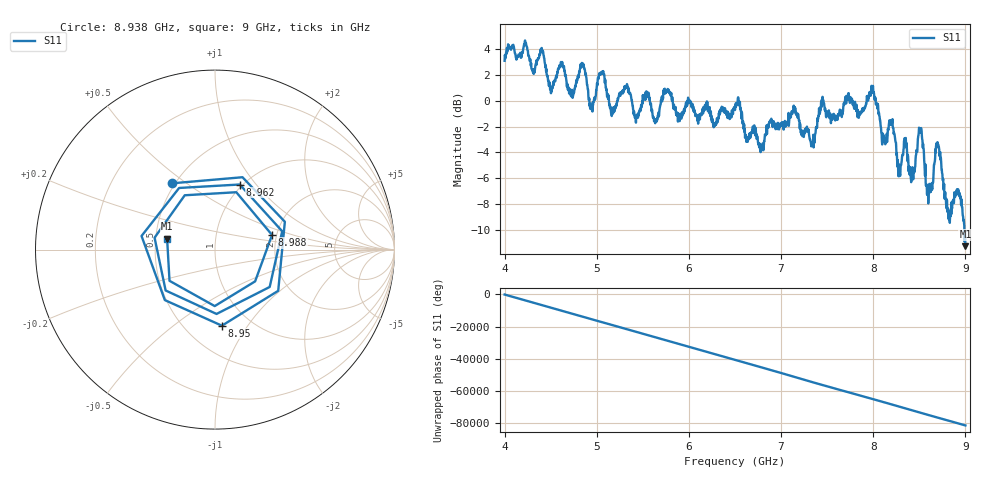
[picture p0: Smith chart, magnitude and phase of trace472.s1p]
! Created with skrf 1.8.0 (http://scikit-rf.org).
# Hz S RI R 50.0
!freq ReS11 ImS11
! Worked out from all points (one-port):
!   1601 points, 4 GHz to 9 GHz, reference 50 ohm
!   lowest |S11| = -11.3 dB at 9 GHz (marker M1), VSWR 1.75, Z = 28.8 + j3.74 ohm
!   |S11| at or under -10 dB: 8.988787 GHz to end of sweep
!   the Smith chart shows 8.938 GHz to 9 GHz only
!   S11 on the Smith chart (normalised r, x): 8.938 GHz: 0.48, +0.44; 8.95 GHz: 0.74, -0.77; 8.962 GHz: 0.97, +0.83; 8.988 GHz: 1.89, +0.35; 9 GHz: 0.58, +0.07
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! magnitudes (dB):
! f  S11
! 4 GHz  3.1
! 4.625 GHz  3.0
! 4.725 GHz  0.4
! 4.85 GHz  2.7
! 4.938 GHz  -0.6
! 5.05 GHz  2.2
! 5.162 GHz  -1.2
! 5.25 GHz  0.4
! 5.875 GHz  -1.1
! 6.5 GHz  -0.7
! 6.788 GHz  -3.8
! 7.125 GHz  -0.9
! 7.338 GHz  -3.5
! 7.447 GHz  -0.1
! 7.75 GHz  0.1
! 7.994 GHz  0.9
! 8.112 GHz  -2.8
! 8.375 GHz  -4.2
! 8.431 GHz  -5.8
! 8.509 GHz  -2.5
! 8.597 GHz  -7.9
! 8.7 GHz  -3.3
! 8.816 GHz  -8.9
! 8.938 GHz  -7.2
! 8.95 GHz  -7.4
! 8.962 GHz  -8.2
! 8.988 GHz  -9.7
! 9 GHz  -11.3
